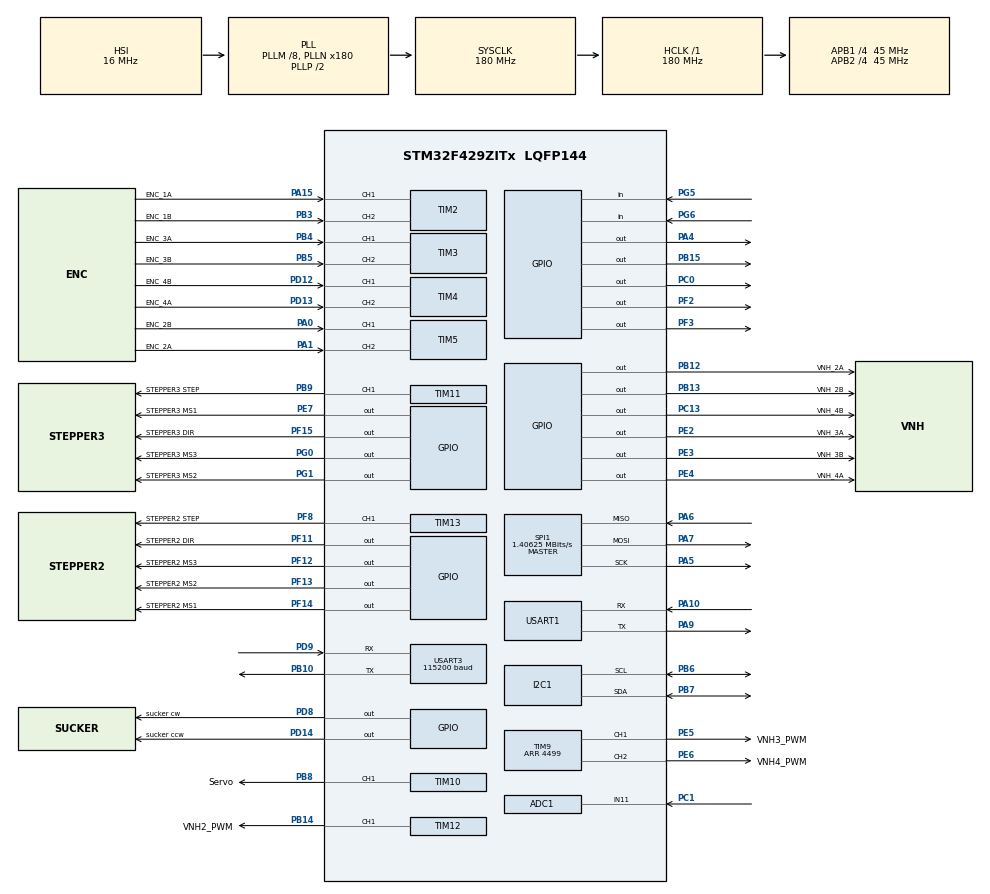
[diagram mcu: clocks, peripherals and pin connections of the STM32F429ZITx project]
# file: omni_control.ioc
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ADC1.Channel-0\#ChannelRegularConversion=ADC_CHANNEL_11
ADC1.NbrOfConversionFlag=1
ADC1.Rank-0\#ChannelRegularConversion=1
ADC1.SamplingTime-0\#ChannelRegularConversion=ADC_SAMPLETIME_3CYCLES
ADC1.master=1
Dma.I2C1_RX.4.Direction=DMA_PERIPH_TO_MEMORY
Dma.I2C1_RX.4.FIFOMode=DMA_FIFOMODE_DISABLE
Dma.I2C1_RX.4.Instance=DMA1_Stream0
Dma.I2C1_RX.4.MemDataAlignment=DMA_MDATAALIGN_BYTE
Dma.I2C1_RX.4.MemInc=DMA_MINC_ENABLE
Dma.I2C1_RX.4.Mode=DMA_NORMAL
Dma.I2C1_RX.4.PeriphDataAlignment=DMA_PDATAALIGN_BYTE
Dma.I2C1_RX.4.PeriphInc=DMA_PINC_DISABLE
Dma.I2C1_RX.4.Priority=DMA_PRIORITY_LOW
Dma.I2C1_TX.5.Direction=DMA_MEMORY_TO_PERIPH
Dma.I2C1_TX.5.FIFOMode=DMA_FIFOMODE_DISABLE
Dma.I2C1_TX.5.Instance=DMA1_Stream6
Dma.I2C1_TX.5.MemDataAlignment=DMA_MDATAALIGN_BYTE
Dma.I2C1_TX.5.MemInc=DMA_MINC_ENABLE
Dma.I2C1_TX.5.Mode=DMA_NORMAL
Dma.I2C1_TX.5.PeriphDataAlignment=DMA_PDATAALIGN_BYTE
Dma.I2C1_TX.5.PeriphInc=DMA_PINC_DISABLE
Dma.I2C1_TX.5.Priority=DMA_PRIORITY_LOW
Dma.Request0=USART1_RX
Dma.Request1=USART3_RX
Dma.Request2=USART3_TX
Dma.Request3=USART1_TX
Dma.Request4=I2C1_RX
Dma.Request5=I2C1_TX
Dma.USART1_RX.0.Direction=DMA_PERIPH_TO_MEMORY
Dma.USART1_RX.0.FIFOMode=DMA_FIFOMODE_DISABLE
Dma.USART1_RX.0.Instance=DMA2_Stream2
Dma.USART1_RX.0.MemDataAlignment=DMA_MDATAALIGN_BYTE
Dma.USART1_RX.0.MemInc=DMA_MINC_ENABLE
Dma.USART1_RX.0.Mode=DMA_CIRCULAR
Dma.USART1_RX.0.PeriphDataAlignment=DMA_PDATAALIGN_BYTE
Dma.USART1_RX.0.PeriphInc=DMA_PINC_DISABLE
Dma.USART1_RX.0.Priority=DMA_PRIORITY_LOW
Dma.USART1_TX.3.Direction=DMA_MEMORY_TO_PERIPH
Dma.USART1_TX.3.FIFOMode=DMA_FIFOMODE_DISABLE
Dma.USART1_TX.3.Instance=DMA2_Stream7
Dma.USART1_TX.3.MemDataAlignment=DMA_MDATAALIGN_BYTE
Dma.USART1_TX.3.MemInc=DMA_MINC_ENABLE
Dma.USART1_TX.3.Mode=DMA_NORMAL
Dma.USART1_TX.3.PeriphDataAlignment=DMA_PDATAALIGN_BYTE
Dma.USART1_TX.3.PeriphInc=DMA_PINC_DISABLE
Dma.USART1_TX.3.Priority=DMA_PRIORITY_LOW
Dma.USART3_RX.1.Direction=DMA_PERIPH_TO_MEMORY
Dma.USART3_RX.1.FIFOMode=DMA_FIFOMODE_DISABLE
Dma.USART3_RX.1.Instance=DMA1_Stream1
Dma.USART3_RX.1.MemDataAlignment=DMA_MDATAALIGN_BYTE
Dma.USART3_RX.1.MemInc=DMA_MINC_ENABLE
Dma.USART3_RX.1.Mode=DMA_CIRCULAR
Dma.USART3_RX.1.PeriphDataAlignment=DMA_PDATAALIGN_BYTE
Dma.USART3_RX.1.PeriphInc=DMA_PINC_DISABLE
Dma.USART3_RX.1.Priority=DMA_PRIORITY_LOW
Dma.USART3_TX.2.Direction=DMA_MEMORY_TO_PERIPH
Dma.USART3_TX.2.FIFOMode=DMA_FIFOMODE_DISABLE
Dma.USART3_TX.2.Instance=DMA1_Stream3
Dma.USART3_TX.2.MemDataAlignment=DMA_MDATAALIGN_BYTE
Dma.USART3_TX.2.MemInc=DMA_MINC_ENABLE
Dma.USART3_TX.2.Mode=DMA_NORMAL
Dma.USART3_TX.2.PeriphDataAlignment=DMA_PDATAALIGN_BYTE
Dma.USART3_TX.2.PeriphInc=DMA_PINC_DISABLE
Dma.USART3_TX.2.Priority=DMA_PRIORITY_LOW
I2C1.I2C_Mode=I2C_Standard
Mcu.Family=STM32F4
Mcu.Name=STM32F429ZITx
Mcu.Package=LQFP144
NVIC.ADC_IRQn=true\:0\:0\:false\:false\:true\:true\:true
NVIC.DMA1_Stream0_IRQn=true\:0\:0\:false\:false\:true\:false\:true
NVIC.DMA1_Stream1_IRQn=true\:0\:0\:false\:false\:true\:false\:true
NVIC.DMA1_Stream3_IRQn=true\:0\:0\:false\:false\:true\:false\:true
NVIC.DMA1_Stream6_IRQn=true\:0\:0\:false\:false\:true\:false\:true
NVIC.DMA2_Stream2_IRQn=true\:0\:0\:false\:false\:true\:false\:true
NVIC.DMA2_Stream7_IRQn=true\:0\:0\:false\:false\:true\:false\:true
NVIC.I2C1_EV_IRQn=true\:0\:0\:false\:false\:true\:true\:true
NVIC.PriorityGroup=NVIC_PRIORITYGROUP_4
NVIC.SPI1_IRQn=true\:0\:0\:false\:false\:true\:true\:true
NVIC.TIM1_TRG_COM_TIM11_IRQn=true\:0\:0\:false\:false\:true\:true\:true
NVIC.TIM6_DAC_IRQn=true\:0\:0\:false\:false\:true\:true\:true
NVIC.TIM7_IRQn=true\:0\:0\:false\:false\:true\:true\:true
NVIC.TIM8_TRG_COM_TIM14_IRQn=true\:0\:0\:false\:false\:true\:true\:true
NVIC.TIM8_UP_TIM13_IRQn=true\:0\:0\:false\:false\:true\:true\:true
NVIC.USART1_IRQn=true\:0\:0\:false\:false\:true\:true\:true
NVIC.USART3_IRQn=true\:0\:0\:false\:false\:true\:true\:true
PA0/WKUP.GPIO_Label=ENC_2B
PA0/WKUP.Signal=S_TIM5_CH1
PA1.GPIO_Label=ENC_2A
PA1.Signal=S_TIM5_CH2
PA10.Mode=Asynchronous
PA10.Signal=USART1_RX
PA15.GPIO_Label=ENC_1A
PA15.Signal=S_TIM2_CH1_ETR
PA4.GPIO_PuPd=GPIO_PULLUP
PA4.GPIO_Speed=GPIO_SPEED_FREQ_VERY_HIGH
PA4.PinState=GPIO_PIN_SET
PA4.Signal=GPIO_Output
PA5.Mode=Full_Duplex_Master
PA5.Signal=SPI1_SCK
PA6.Mode=Full_Duplex_Master
PA6.Signal=SPI1_MISO
PA7.Mode=Full_Duplex_Master
PA7.Signal=SPI1_MOSI
PA9.Mode=Asynchronous
PA9.Signal=USART1_TX
PB10.Mode=Asynchronous
PB10.Signal=USART3_TX
PB12.GPIO_Label=VNH_2A
PB12.Signal=GPIO_Output
PB13.GPIO_Label=VNH_2B
PB13.Signal=GPIO_Output
PB14.GPIO_Label=VNH2_PWM
PB14.Signal=S_TIM12_CH1
PB15.Signal=GPIO_Output
PB3.GPIO_Label=ENC_1B
PB3.Signal=S_TIM2_CH2
PB4.GPIO_Label=ENC_3A
PB4.Signal=S_TIM3_CH1
PB5.GPIO_Label=ENC_3B
PB5.Signal=S_TIM3_CH2
PB6.Mode=I2C
PB6.Signal=I2C1_SCL
PB7.Mode=I2C
PB7.Signal=I2C1_SDA
PB8.GPIO_Label=Servo
PB8.Signal=S_TIM10_CH1
PB9.GPIO_Label=STEPPER3 STEP
PB9.Signal=S_TIM11_CH1
PC0.Signal=GPIO_Output
PC1.Signal=ADCx_IN11
PC13.GPIO_Label=VNH_4B
PC13.Signal=GPIO_Output
PD12.GPIO_Label=ENC_4B
PD12.Signal=S_TIM4_CH1
PD13.GPIO_Label=ENC_4A
PD13.Signal=S_TIM4_CH2
PD14.GPIO_Label=sucker ccw
PD14.Signal=GPIO_Output
PD8.GPIO_Label=sucker cw
PD8.Signal=GPIO_Output
PD9.Mode=Asynchronous
PD9.Signal=USART3_RX
PE2.GPIO_Label=VNH_3A
PE2.Signal=GPIO_Output
PE3.GPIO_Label=VNH_3B
PE3.Signal=GPIO_Output
PE4.GPIO_Label=VNH_4A
PE4.Signal=GPIO_Output
PE5.GPIO_Label=VNH3_PWM
PE5.Signal=S_TIM9_CH1
PE6.GPIO_Label=VNH4_PWM
PE6.Signal=S_TIM9_CH2
PE7.GPIO_Label=STEPPER3 MS1
PE7.Signal=GPIO_Output
PF11.GPIO_Label=STEPPER2 DIR
PF11.Signal=GPIO_Output
PF12.GPIO_Label=STEPPER2 MS3
PF12.Signal=GPIO_Output
PF13.GPIO_Label=STEPPER2 MS2
PF13.Signal=GPIO_Output
PF14.GPIO_Label=STEPPER2 MS1
PF14.Signal=GPIO_Output
PF15.GPIO_Label=STEPPER3 DIR
PF15.Signal=GPIO_Output
PF2.Signal=GPIO_Output
PF3.GPIO_PuPd=GPIO_PULLUP
PF3.GPIO_Speed=GPIO_SPEED_FREQ_VERY_HIGH
PF3.Signal=GPIO_Output
PF8.GPIO_Label=STEPPER2 STEP
PF8.Signal=S_TIM13_CH1
PG0.GPIO_Label=STEPPER3 MS3
PG0.Signal=GPIO_Output
PG1.GPIO_Label=STEPPER3 MS2
PG1.Signal=GPIO_Output
PG5.Signal=GPIO_Input
PG6.Signal=GPIO_Input
ProjectManager.HeapSize=0x200
ProjectManager.StackSize=0x400
ProjectManager.TargetToolchain=STM32CubeIDE
RCC.48MHZClocksFreq_Value=90000000
RCC.AHBFreq_Value=180000000
RCC.APB1CLKDivider=RCC_HCLK_DIV4
RCC.APB1Freq_Value=45000000
RCC.APB1TimFreq_Value=90000000
RCC.APB2CLKDivider=RCC_HCLK_DIV4
RCC.APB2Freq_Value=45000000
RCC.APB2TimFreq_Value=90000000
RCC.CortexFreq_Value=180000000
RCC.HCLKFreq_Value=180000000
RCC.HSE_VALUE=25000000
RCC.HSI_VALUE=16000000
RCC.LSE_VALUE=32768
RCC.PLLM=8
RCC.PLLN=180
RCC.SYSCLKFreq_VALUE=180000000
RCC.SYSCLKSource=RCC_SYSCLKSOURCE_PLLCLK
RCC.VCOOutputFreq_Value=360000000
SH.ADCx_IN11.0=ADC1_IN11,IN11
SH.S_TIM10_CH1.0=TIM10_CH1,PWM Generation1 CH1
SH.S_TIM11_CH1.0=TIM11_CH1,PWM Generation1 CH1
SH.S_TIM12_CH1.0=TIM12_CH1,PWM Generation1 CH1
SH.S_TIM13_CH1.0=TIM13_CH1,PWM Generation1 CH1
SH.S_TIM2_CH1_ETR.0=TIM2_CH1,Encoder_Interface
SH.S_TIM2_CH2.0=TIM2_CH2,Encoder_Interface
SH.S_TIM3_CH1.0=TIM3_CH1,Encoder_Interface
SH.S_TIM3_CH2.0=TIM3_CH2,Encoder_Interface
SH.S_TIM4_CH1.0=TIM4_CH1,Encoder_Interface
SH.S_TIM4_CH2.0=TIM4_CH2,Encoder_Interface
SH.S_TIM5_CH1.0=TIM5_CH1,Encoder_Interface
SH.S_TIM5_CH2.0=TIM5_CH2,Encoder_Interface
SH.S_TIM9_CH1.0=TIM9_CH1,PWM Generation1 CH1
SH.S_TIM9_CH2.0=TIM9_CH2,PWM Generation2 CH2
SPI1.BaudRatePrescaler=SPI_BAUDRATEPRESCALER_32
SPI1.CLKPolarity=SPI_POLARITY_LOW
SPI1.CalculateBaudRate=1.40625 MBits/s
SPI1.Direction=SPI_DIRECTION_2LINES
SPI1.Mode=SPI_MODE_MASTER
SPI1.VirtualType=VM_MASTER
TIM10.Channel=TIM_CHANNEL_1
TIM10.Period=9999
TIM10.Prescaler=179
TIM11.Channel=TIM_CHANNEL_1
TIM11.Period=10000-1
TIM11.Prescaler=8
TIM12.Channel-PWM\ Generation1\ CH1=TIM_CHANNEL_1
TIM12.Period=4499
TIM13.Channel=TIM_CHANNEL_1
TIM13.Period=1000-1
TIM13.Prescaler=8
TIM14.Period=9999
TIM14.Prescaler=179
TIM2.EncoderMode=TIM_ENCODERMODE_TI12
TIM3.EncoderMode=TIM_ENCODERMODE_TI12
TIM4.EncoderMode=TIM_ENCODERMODE_TI12
TIM5.EncoderMode=TIM_ENCODERMODE_TI12
TIM6.Period=29999
TIM6.Prescaler=2
TIM7.Period=9999
TIM7.Prescaler=89
TIM9.Channel-PWM\ Generation1\ CH1=TIM_CHANNEL_1
TIM9.Channel-PWM\ Generation2\ CH2=TIM_CHANNEL_2
TIM9.Period=4499
USART1.VirtualMode=VM_ASYNC
USART3.BaudRate=115200
USART3.VirtualMode=VM_ASYNC
VP_CRC_VS_CRC.Mode=CRC_Activate
VP_TIM10_VS_ClockSourceINT.Mode=Enable_Timer
VP_TIM11_VS_ClockSourceINT.Mode=Enable_Timer
VP_TIM13_VS_ClockSourceINT.Mode=Enable_Timer
VP_TIM14_VS_ClockSourceINT.Mode=Enable_Timer
VP_TIM6_VS_ClockSourceINT.Mode=Enable_Timer
VP_TIM7_VS_ClockSourceINT.Mode=Enable_Timer
board=custom

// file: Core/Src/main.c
/* USER CODE BEGIN Header */
/**
 ******************************************************************************
 * @file           : main.c
 * @brief          : A program for omni-directional robot
 * 				The following picture shows the variable name of each wheel
 * 				 /------------------------------\
* 				/ wheel1        |        wheel2  \
* 								|
 * 								|
 * 								|
 * 								|
 * 								|
 * 								|
 * 								|
 * 							 --------
 * 							  wheel3
 ******************************************************************************
 * @attention
 *
 * <h2><center>&copy; Copyright (c) 2021 STMicroelectronics.
 * All rights reserved.</center></h2>
 *
 * This software component is licensed by ST under BSD 3-Clause license,
 * the "License"; You may not use this file except in compliance with the
 * License. You may obtain a copy of the License at:
 *                        opensource.org/licenses/BSD-3-Clause
 *
 ******************************************************************************
 */
/* USER CODE END Header */
#include "main.h"
#include "adc.h"
#include "crc.h"
#include "dma.h"
#include "i2c.h"
#include "spi.h"
#include "tim.h"
#include "usart.h"
#include "gpio.h"

/* USER CODE BEGIN Includes */
#include "robot.h"

/* USER CODE END Includes */

/* USER CODE BEGIN PTD */
#define MASTER_BOARD

/* USER CODE END PTD */

/* USER CODE BEGIN PV */
double omega1;
double omega2;
double omega3;
int count_time;
int counter1 = 0;
int getCNT = 0;
struct ROBOT omni_drive;
volatile uint32_t previous_cnt, cnt = 0;
int which_motor = 0;
int rxcpltCount;

int initCheck;
int qaq = 0;
uint8_t data = 147;
int action_finished = 0;
int ouo = 0;
int i2c_cnt = 0;
double yaw_avg = 0;
double angle_integral = 0;
int transfer_finish = 1;

/* USER CODE END PV */

void SystemClock_Config(void);

/* USER CODE BEGIN 0 */
void HAL_TIM_PeriodElapsedCallback(TIM_HandleTypeDef *htim) {
	if (htim == &htim6) {
//		if(transfer_finish){
			counter1++;
			s_curve(&omni_drive, omni_drive.control.linearVelocity_x,
					omni_drive.control.linearVelocity_y,
					omni_drive.control.angularVelocity);
	//		if(omni_drive.arm_ptr->right.direction > radian(90) && omni_drive.arm_ptr->right.initialized ==1)
	//			stepper_move(omni_drive.arm_ptr, 0, PI/2);
	//		arm_move(omni_drive.arm_ptr, omni_drive.arm_ptr->cmdvel_x, omni_drive.arm_ptr->cmdvel_y);
	//		omni_drive.control.motor[0].target = 0;
	//		omni_drive.control.motor[1].target = 0;
	//		omni_drive.control.motor[2].target = 0;
			endjoint_script(&omni_drive.end_joint, omni_drive.end_joint.command);
			stepper_angle_tracking(omni_drive.arm_ptr,omni_drive.arm_ptr->left.tracking_angle,omni_drive.arm_ptr->right.tracking_angle);
			PID(&omni_drive);
			HAL_ADC_Start_IT(omni_drive.end_joint.sucker_hardware.Psensor_adc);

			action_finished = 1;
//		}
	}
	if (htim == &htim7) {
		if(!omni_drive.imu.data_processing)
			MPU6050_Read_Gyro(&hi2c1,&omni_drive.imu,&omni_drive.imu.Rec_Data[0]);
//		omni_drive.deltaXSum += omni_drive.pmw3901.deltaX;
//		omni_drive.deltaYSum += omni_drive.pmw3901.deltaY;
	}
	if(htim == &htim14){
		if(action_finished){
			transfer_finish = 0;
			Tx_Data_Update(&omni_drive);
			Uart_Transmit(&omni_drive);
			action_finished = 0;
			transfer_finish = 1;
		}
	}
}

void HAL_SPI_TxRxCpltCallback(SPI_HandleTypeDef *hspi) {
	if (hspi == omni_drive.pmw3901.hspi) {
//		HAL_SPI_Transmit_DMA(omni_drive.pmw3901.hspi, &data, 4);
		ouo++;
	}
//		HAL_GPIO_WritePin(GPIOF, GPIO_PIN_6, GPIO_PIN_SET);
}

void HAL_SPI_TxCpltCallback(SPI_HandleTypeDef *hspi) {
	if (hspi == omni_drive.pmw3901.hspi) {
////		HAL_SPI_Transmit_DMA(omni_drive.pmw3901.hspi, &data, 4);
//		qaq++;
	}
}

void HAL_SPI_RxCpltCallback(SPI_HandleTypeDef *hspi) {
	if (hspi == omni_drive.pmw3901.hspi) {
//		HAL_SPI_Transmit_DMA(omni_drive.pmw3901.hspi, &data, 4);
//		ouo++;
	}
}

void HAL_GPIO_EXTI_Callback(uint16_t GPIO_Pin) {
	if (GPIO_Pin == GPIO_PIN_1) {
		counter1++;

	}
}

void HAL_UART_RxCpltCallback(UART_HandleTypeDef *huart) {
	if (huart == omni_drive.communicate.uart.huart) {
		Uart_RxCplt(&omni_drive);
	}
}

void HAL_I2C_MemTxCpltCallback(I2C_HandleTypeDef *hi2c) {
	if (hi2c == &hi2c1) {

	}
}

void HAL_I2C_MemRxCpltCallback(I2C_HandleTypeDef *hi2c) { /*confirm whether i2c rx function work*/
	if (hi2c == &hi2c1) {

		omni_drive.imu.Gyro_X_RAW = (int16_t)(omni_drive.imu.Rec_Data[8] << 8 | omni_drive.imu.Rec_Data[9]);
		omni_drive.imu.Gyro_Y_RAW = (int16_t)(omni_drive.imu.Rec_Data[10] << 8 | omni_drive.imu.Rec_Data[11]);
		omni_drive.imu.Gyro_Z_RAW = (int16_t)(omni_drive.imu.Rec_Data[12] << 8 | omni_drive.imu.Rec_Data[13]);

		omni_drive.imu.Accel_X_RAW = (int16_t)(omni_drive.imu.Rec_Data[0] << 8 | omni_drive.imu.Rec_Data[1]);
		omni_drive.imu.Accel_Y_RAW = (int16_t)(omni_drive.imu.Rec_Data[2] << 8 | omni_drive.imu.Rec_Data[3]);
		omni_drive.imu.Accel_Z_RAW = (int16_t)(omni_drive.imu.Rec_Data[4] << 8 | omni_drive.imu.Rec_Data[5]);

		omni_drive.imu.Ax = omni_drive.imu.Accel_X_RAW / 16384.0;
		omni_drive.imu.Ax *= 9.81;
		omni_drive.imu.Ax -= 0.35;

		omni_drive.imu.Ay = omni_drive.imu.Accel_Y_RAW / 16384.0;
		omni_drive.imu.Ay *= 9.81;
		omni_drive.imu.Ay += 0.058;

		omni_drive.imu.Gx = omni_drive.imu.Gyro_X_RAW / 131.0;
		omni_drive.imu.Gy = omni_drive.imu.Gyro_Y_RAW / 131.0;
		omni_drive.imu.Gz = omni_drive.imu.Gyro_Z_RAW / 131.0;
		omni_drive.imu.Gz *= M_PI / 180;
		omni_drive.imu.Gz += 0.0111;

//		omni_drive.communicate.uart.tx[9] = omni_drive.imu.Gz * 100.0;
//		omni_drive.communicate.uart.tx[7] = omni_drive.imu.Ax * 100.0;
//		omni_drive.communicate.uart.tx[8] = omni_drive.imu.Ay * 100.0;

		yaw_avg += omni_drive.imu.Gz;
		i2c_cnt ++;
		angle_integral +=( omni_drive.imu.Gz * 0.01) ;

		yaw_avg /= i2c_cnt;
		omni_drive.imu.data_processing = 0;
	}
}

void HAL_ADC_ConvCpltCallback(ADC_HandleTypeDef* hadc)
{
    // Update The ADC Result
//    end_joint.adc_value[sample_number%10] = HAL_ADC_GetValue(end_joint.sucker_hardware.Psensor_adc);
	 qaq++;
     omni_drive.end_joint.adc_value = HAL_ADC_GetValue(omni_drive.end_joint.sucker_hardware.Psensor_adc);
//     end_joint.cur_voltage = 3.3*value/4096;
}

/* USER CODE END 0 */

int main(void)
{

  /* MCU Configuration--------------------------------------------------------*/

  /* Reset of all peripherals, Initializes the Flash interface and the Systick. */
  HAL_Init();

  /* Configure the system clock */
  SystemClock_Config();

  /* Initialize all configured peripherals */
  MX_TIM6_Init();
  MX_GPIO_Init();
  MX_DMA_Init();
  MX_TIM4_Init();
  MX_USART1_UART_Init();
  MX_USART3_UART_Init();
  MX_CRC_Init();
  MX_TIM2_Init();
  MX_TIM3_Init();
  MX_TIM5_Init();
  MX_TIM9_Init();
  MX_TIM10_Init();
  MX_TIM11_Init();
  MX_TIM12_Init();
  MX_TIM13_Init();
  MX_SPI1_Init();
  MX_ADC1_Init();
  MX_I2C1_Init();
  MX_TIM14_Init();
  MX_TIM7_Init();
  /* USER CODE BEGIN 2 */
	Initiate(&omni_drive);
//	HAL_SPI_Transmit_DMA(omni_drive.pmw3901.hspi, &data, 4);
	HAL_GPIO_WritePin(GPIOF,GPIO_PIN_3,0);
	HAL_Delay(50);
	HAL_GPIO_WritePin(GPIOF,GPIO_PIN_3,1);
	HAL_Delay(50);
	initCheck = MPU6050_Init(&hi2c1);

//	initCheck = pmw_init(&omni_drive.pmw3901);
//  qaq ++;
	HAL_TIM_Base_Start_IT(&htim6);
	HAL_TIM_Base_Start_IT(&htim7);
//    HAL_TIM_Base_Start_IT(&htim11);
    HAL_TIM_Base_Start_IT(&htim14);

//  HAL_TIM_IC_Start_IT(&htim5, TIM_CHANNEL_2);
//  HAL_TIM_Encoder_Start(&htim4, TIM_CHANNEL_ALL);
//  HAL_GPIO_EXTI_Callback(GPIO_Pin)
//  omni_drive.control.motor[0].target = 3950;
//motor max speed 3950 mm/s
  /* USER CODE END 2 */

  /* Infinite loop */
  /* USER CODE BEGIN WHILE */
	while (1) {
//		HAL_GPIO_WritePin(omni_drive.end_joint.sucker_hardware.suck_port, omni_drive.end_joint.sucker_hardware.suck_pin, 1);
//		readMotionCount(&omni_drive.pmw3901);
//		stepper_move(omni_drive.arm_ptr, 0, -PI / 8);
//		HAL_SPI_Transmit(omni_drive.pmw3901.hspi, &data, 1,50);
//		MPU6050_Read_Gyro(&hi2c1,&omni_drive.imu);
//	HAL_Delay(10);
//	ouo ++;
    /* USER CODE END WHILE */

    /* USER CODE BEGIN 3 */
//	  setMotorSpeed(&omni_drive.control.motor[which_motor], 1, 3000);
//	arm_move(omni_drive.arm_ptr, omni_drive.arm_ptr->cmdvel_x, omni_drive.arm_ptr->cmdvel_y);
	}
  /* USER CODE END 3 */
}

void SystemClock_Config(void)
{
  RCC_OscInitTypeDef RCC_OscInitStruct = {0};
  RCC_ClkInitTypeDef RCC_ClkInitStruct = {0};

  /** Configure the main internal regulator output voltage
  */
  __HAL_RCC_PWR_CLK_ENABLE();
  __HAL_PWR_VOLTAGESCALING_CONFIG(PWR_REGULATOR_VOLTAGE_SCALE1);
  /** Initializes the RCC Oscillators according to the specified parameters
  * in the RCC_OscInitTypeDef structure.
  */
  RCC_OscInitStruct.OscillatorType = RCC_OSCILLATORTYPE_HSI;
  RCC_OscInitStruct.HSIState = RCC_HSI_ON;
  RCC_OscInitStruct.HSICalibrationValue = RCC_HSICALIBRATION_DEFAULT;
  RCC_OscInitStruct.PLL.PLLState = RCC_PLL_ON;
  RCC_OscInitStruct.PLL.PLLSource = RCC_PLLSOURCE_HSI;
  RCC_OscInitStruct.PLL.PLLM = 8;
  RCC_OscInitStruct.PLL.PLLN = 180;
  RCC_OscInitStruct.PLL.PLLP = RCC_PLLP_DIV2;
  RCC_OscInitStruct.PLL.PLLQ = 4;
  if (HAL_RCC_OscConfig(&RCC_OscInitStruct) != HAL_OK)
  {
    Error_Handler();
  }
  /** Activate the Over-Drive mode
  */
  if (HAL_PWREx_EnableOverDrive() != HAL_OK)
  {
    Error_Handler();
  }
  /** Initializes the CPU, AHB and APB buses clocks
  */
  RCC_ClkInitStruct.ClockType = RCC_CLOCKTYPE_HCLK|RCC_CLOCKTYPE_SYSCLK
                              |RCC_CLOCKTYPE_PCLK1|RCC_CLOCKTYPE_PCLK2;
  RCC_ClkInitStruct.SYSCLKSource = RCC_SYSCLKSOURCE_PLLCLK;
  RCC_ClkInitStruct.AHBCLKDivider = RCC_SYSCLK_DIV1;
  RCC_ClkInitStruct.APB1CLKDivider = RCC_HCLK_DIV4;
  RCC_ClkInitStruct.APB2CLKDivider = RCC_HCLK_DIV4;

  if (HAL_RCC_ClockConfig(&RCC_ClkInitStruct, FLASH_LATENCY_5) != HAL_OK)
  {
    Error_Handler();
  }
}

void Error_Handler(void)
{
	__disable_irq();
	while (1) {
	}
}

/************************ (C) COPYRIGHT STMicroelectronics *****END OF FILE****/
